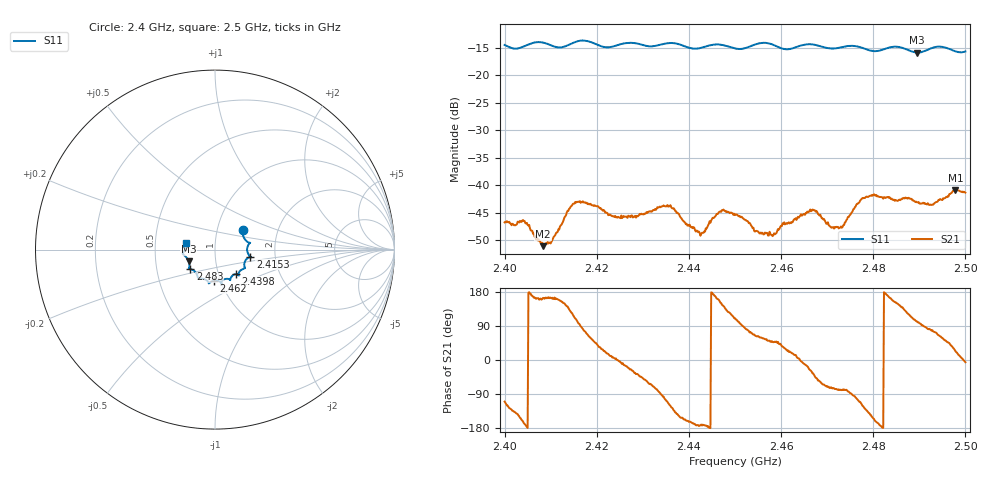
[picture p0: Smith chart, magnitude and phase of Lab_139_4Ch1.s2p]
# Hz S RI R 50
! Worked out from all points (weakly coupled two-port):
!   601 points, 2.4 GHz to 2.5 GHz, reference 50 ohm
!   highest |S21| = -40.88 dB at 2.4978 GHz (marker M1); lowest = -51.1 dB at 2.4083 GHz (marker M2)
!   lowest |S11| = -15.9 dB at 2.4895 GHz (marker M3), VSWR 1.38, Z = 37 - j4.99 ohm
!   |S11| at or under -10 dB: start of sweep to end of sweep
!   S12 and S22 are empty: the file has one direction only
!   S11 on the Smith chart (normalised r, x): 2.4 GHz: 1.33, +0.29; 2.4153 GHz: 1.48, -0.12; 2.4398 GHz: 1.21, -0.34; 2.462 GHz: 0.93, -0.33; 2.483 GHz: 0.74, -0.17; 2.5 GHz: 0.72, +0.06
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2.4e9  0.1551 0.1066  -0.00156 -0.00431  0 0  0 0
2.404333e9  0.1781 0.0449  -0.00461 -0.000939  0 0  0 0
2.408333e9  0.1945 0.0367  -0.00267 0.000773  0 0  0 0
2.415333e9  0.1966 -0.0387  -0.00235 0.00663  0 0  0 0
2.416667e9  0.202 -0.0429  0.000378 0.00703  0 0  0 0
2.424667e9  0.1638 -0.0933  0.00514 -0.000113  0 0  0 0
2.433333e9  0.1311 -0.1337  0.000849 -0.00619  0 0  0 0
2.436167e9  0.1325 -0.1449  -0.00358 -0.00516  0 0  0 0
2.439833e9  0.1152 -0.1363  -0.00411 -0.00141  0 0  0 0
2.442833e9  0.0902 -0.1535  -0.00365 -0.000455  0 0  0 0
2.447e9  0.0842 -0.1693  -0.00495 0.00285  0 0  0 0
2.45e9  0.0648 -0.1628  -0.00185 0.005  0 0  0 0
2.455833e9  0.0379 -0.1929  0.00194 0.00314  0 0  0 0
2.462e9  -0.00519 -0.1732  0.00428 0.00162  0 0  0 0
2.466667e9  -0.0342 -0.1877  0.00499 -0.00304  0 0  0 0
2.472833e9  -0.0786 -0.1603  0.00083 -0.00402  0 0  0 0
2.477667e9  -0.0977 -0.1476  -0.00392 -0.00655  0 0  0 0
2.483e9  -0.1375 -0.1096  -0.00769 0.00116  0 0  0 0
2.483333e9  -0.1403 -0.1092  -0.00748 0.00171  0 0  0 0
2.4895e9  -0.1462 -0.0658  -0.00141 0.00682  0 0  0 0
2.497833e9  -0.1645 0.00324  0.00828 0.00363  0 0  0 0
2.5e9  -0.1596 0.0392  0.0085 -0.000877  0 0  0 0
